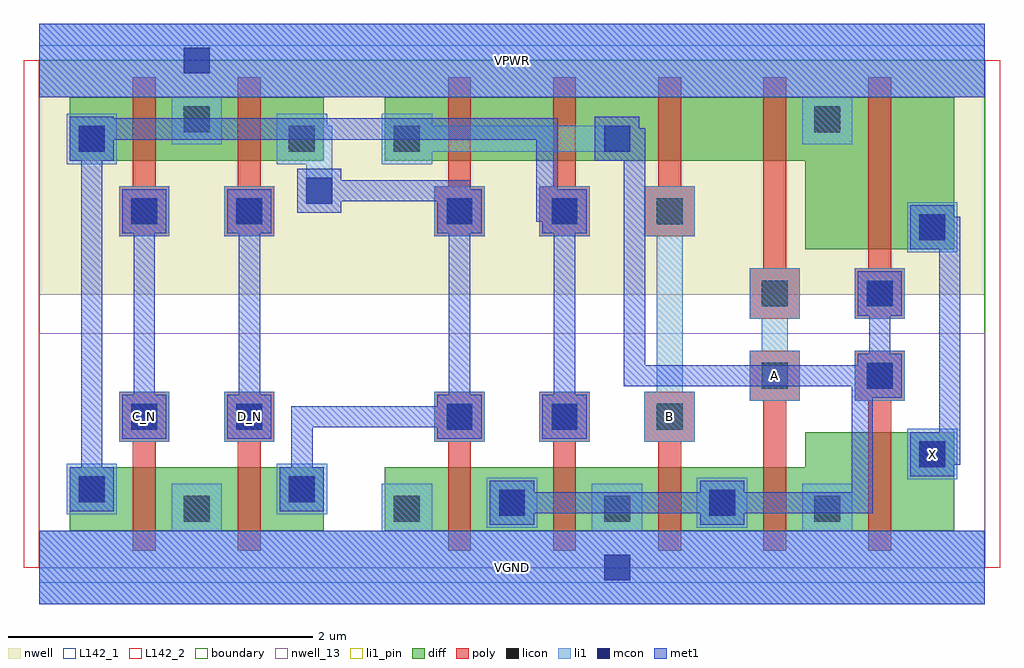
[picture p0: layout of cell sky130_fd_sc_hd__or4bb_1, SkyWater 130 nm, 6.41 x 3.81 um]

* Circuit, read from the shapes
.subckt sky130_fd_sc_hd__or4bb_1 A B C_N D_N VGND VPWR X
XM1 VGND C_N n1 VSUBS sky130_fd_pr__nfet_01v8 w=0.42 l=0.15
XM2 n2 D_N VGND VSUBS sky130_fd_pr__nfet_01v8 w=0.42 l=0.15
XM3 n3 n2 VGND VSUBS sky130_fd_pr__nfet_01v8 w=0.42 l=0.15
XM4 VGND n1 n3 VSUBS sky130_fd_pr__nfet_01v8 w=0.42 l=0.15
XM5 n3 B VGND VSUBS sky130_fd_pr__nfet_01v8 w=0.42 l=0.15
XM6 VGND A n3 VSUBS sky130_fd_pr__nfet_01v8 w=0.42 l=0.15
XM7 X n3 VGND VSUBS sky130_fd_pr__nfet_01v8 w=0.65 l=0.15
XM8 VPWR C_N n1 n4 sky130_fd_pr__pfet_01v8 w=0.42 l=0.15
XM9 n2 D_N VPWR n4 sky130_fd_pr__pfet_01v8 w=0.42 l=0.15
XM10 n5 n2 n3 n4 sky130_fd_pr__pfet_01v8 w=0.42 l=0.15
XM11 n6 n1 n5 n4 sky130_fd_pr__pfet_01v8 w=0.42 l=0.15
XM12 n7 B n6 n4 sky130_fd_pr__pfet_01v8 w=0.42 l=0.15
XM13 VPWR A n7 n4 sky130_fd_pr__pfet_01v8 w=0.42 l=0.15
XM14 X n3 VPWR n4 sky130_fd_pr__pfet_01v8 w=1 l=0.15
.ends

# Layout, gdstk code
import gdstk
lib = gdstk.Library(unit=1e-6, precision=1e-09)
def R(c, l, rs):  # rectangles x0, y0, x1, y1
    for r in rs: c.add(gdstk.rectangle(r[:2], r[2:], *l))
def A(c, l, x, y, w, h, nx, ny, dx, dy):  # array of equal rectangles
    R(c, l, [(x+i*dx, y+j*dy, x+i*dx+w, y+j*dy+h) for i in range(nx) for j in range(ny)])
def P(c, l, *ps):  # polygons
    for p in ps: c.add(gdstk.Polygon(p, *l))
nwell_13 = (64, 13)
nwell = (64, 20)
diff = (65, 20)
poly = (66, 20)
licon = (66, 44)
li1_pin = (67, 16)
li1 = (67, 20)
mcon = (67, 44)
met1 = (68, 20)
L142_1 = (142, 1)
L142_2 = (142, 2)
boundary = (235, 4)

sky130_fd_sc_hd__or4bb_1 = lib.new_cell('sky130_fd_sc_hd__or4bb_1')
R(sky130_fd_sc_hd__or4bb_1, nwell_13, [(0,0,6.21,1.54)])
R(sky130_fd_sc_hd__or4bb_1, nwell, [(0,1.79,6.21,3.33)])
A(sky130_fd_sc_hd__or4bb_1, diff, 2.685, 0.24, 0.69, 0.42, 3, 2, 0.69, 2.43)
R(sky130_fd_sc_hd__or4bb_1, diff, [(0.2,0.24,1.87,0.66), (0.2,0.24,0.615,0.66), (0.615,0.24,1.305,0.66), (1.305,0.24,1.87,0.66), (2.27,0.24,2.685,0.66), (5.445,0.24,6.01,0.89), (5.445,2.09,6.01,3.09), (0.2,2.67,1.87,3.09), (0.2,2.67,0.615,3.09), (0.615,2.67,1.305,3.09), (1.305,2.67,1.87,3.09), (2.27,2.67,2.685,3.09)])
P(sky130_fd_sc_hd__or4bb_1, diff, [(2.27,0.24),(2.27,0.66),(5.03,0.66),(5.03,0.89),(6.01,0.89),(6.01,0.24)],
  [(4.755,0.24),(4.755,0.66),(5.03,0.66),(5.03,0.89),(5.445,0.89),(5.445,0.24)],
  [(5.03,2.09),(5.03,2.67),(2.27,2.67),(2.27,3.09),(6.01,3.09),(6.01,2.09)],
  [(5.03,2.09),(5.03,2.67),(4.755,2.67),(4.755,3.09),(5.445,3.09),(5.445,2.09)])
P(sky130_fd_sc_hd__or4bb_1, poly, [(4.065,0.11),(4.065,0.825),(3.975,0.825),(3.975,1.155),(4.305,1.155),(4.305,0.825),(4.215,0.825),(4.215,0.11)],
  [(3.975,2.175),(3.975,2.505),(4.065,2.505),(4.065,3.22),(4.215,3.22),(4.215,2.505),(4.305,2.505),(4.305,2.175)],
  [(5.445,0.11),(5.445,1.095),(5.355,1.095),(5.355,1.425),(5.685,1.425),(5.685,1.095),(5.595,1.095),(5.595,0.11)],
  [(5.355,1.635),(5.355,1.965),(5.445,1.965),(5.445,3.22),(5.595,3.22),(5.595,1.965),(5.685,1.965),(5.685,1.635)],
  [(2.685,0.11),(2.685,0.825),(2.595,0.825),(2.595,1.155),(2.925,1.155),(2.925,0.825),(2.835,0.825),(2.835,0.11)],
  [(2.595,2.175),(2.595,2.505),(2.685,2.505),(2.685,3.22),(2.835,3.22),(2.835,2.505),(2.925,2.505),(2.925,2.175)],
  [(1.305,0.11),(1.305,0.825),(1.215,0.825),(1.215,1.155),(1.545,1.155),(1.545,0.825),(1.455,0.825),(1.455,0.11)],
  [(1.215,2.175),(1.215,2.505),(1.305,2.505),(1.305,3.22),(1.455,3.22),(1.455,2.505),(1.545,2.505),(1.545,2.175)],
  [(3.375,0.11),(3.375,0.825),(3.285,0.825),(3.285,1.155),(3.615,1.155),(3.615,0.825),(3.525,0.825),(3.525,0.11)],
  [(3.285,2.175),(3.285,2.505),(3.375,2.505),(3.375,3.22),(3.525,3.22),(3.525,2.505),(3.615,2.505),(3.615,2.175)],
  [(4.755,0.11),(4.755,1.095),(4.665,1.095),(4.665,1.425),(4.995,1.425),(4.995,1.095),(4.905,1.095),(4.905,0.11)],
  [(4.665,1.635),(4.665,1.965),(4.755,1.965),(4.755,3.22),(4.905,3.22),(4.905,1.965),(4.995,1.965),(4.995,1.635)],
  [(0.615,0.11),(0.615,0.825),(0.525,0.825),(0.525,1.155),(0.855,1.155),(0.855,0.825),(0.765,0.825),(0.765,0.11)],
  [(0.525,2.175),(0.525,2.505),(0.615,2.505),(0.615,3.22),(0.765,3.22),(0.765,2.505),(0.855,2.505),(0.855,2.175)])
A(sky130_fd_sc_hd__or4bb_1, licon, 0.95, 0.3, 0.17, 0.17, 4, 1, 1.38, 0)
A(sky130_fd_sc_hd__or4bb_1, licon, 2.675, 0.905, 0.17, 0.17, 3, 2, 0.69, 1.35)
R(sky130_fd_sc_hd__or4bb_1, licon, [(3.02,0.34,3.19,0.51), (4.4,0.34,4.57,0.51), (0.26,0.43,0.43,0.6), (1.64,0.43,1.81,0.6), (5.78,0.66,5.95,0.83), (0.605,0.905,0.775,1.075), (1.295,0.905,1.465,1.075), (4.745,1.175,4.915,1.345), (5.435,1.175,5.605,1.345), (4.745,1.715,4.915,1.885), (5.435,1.715,5.605,1.885), (5.78,2.15,5.95,2.32), (0.605,2.255,0.775,2.425), (1.295,2.255,1.465,2.425), (0.26,2.73,0.43,2.9), (1.64,2.73,1.81,2.9), (2.33,2.73,2.5,2.9), (0.95,2.86,1.12,3.03), (5.09,2.86,5.26,3.03)])
R(sky130_fd_sc_hd__or4bb_1, li1_pin, [(0,-0.24,6.21,0.24), (5.7,0.58,6.03,0.91), (0.525,0.825,0.855,1.155), (1.215,0.825,1.545,1.155), (0,3.09,6.21,3.57)])
P(sky130_fd_sc_hd__or4bb_1, li1_pin, [(4.665,1.095),(4.665,1.425),(4.745,1.425),(4.745,1.635),(4.665,1.635),(4.665,1.965),(4.995,1.965),(4.995,1.635),(4.915,1.635),(4.915,1.425),(4.995,1.425),(4.995,1.095)],
  [(3.975,0.825),(3.975,1.155),(4.055,1.155),(4.055,2.175),(3.975,2.175),(3.975,2.505),(4.305,2.505),(4.305,2.175),(4.225,2.175),(4.225,1.155),(4.305,1.155),(4.305,0.825)])
R(sky130_fd_sc_hd__or4bb_1, li1, [(2.94,0.26,3.27,0.59), (4.32,0.26,4.65,0.59), (0.18,0.35,0.51,0.68), (1.56,0.35,1.89,0.68), (5.7,0.58,6.03,0.91), (0.525,0.825,0.855,1.155), (1.215,0.825,1.545,1.155), (2.595,0.825,2.925,1.155), (3.285,0.825,3.615,1.155), (5.355,1.095,5.685,1.425), (5.355,1.635,5.685,1.965), (5.7,2.07,6.03,2.4), (0.525,2.175,0.855,2.505), (1.215,2.175,1.545,2.505), (2.595,2.175,2.925,2.505), (3.285,2.175,3.615,2.505), (0.18,2.65,0.51,2.98)])
P(sky130_fd_sc_hd__or4bb_1, li1, [(3.975,0.825),(3.975,1.155),(4.055,1.155),(4.055,2.175),(3.975,2.175),(3.975,2.505),(4.305,2.505),(4.305,2.175),(4.225,2.175),(4.225,1.155),(4.305,1.155),(4.305,0.825)],
  [(2.25,2.65),(2.25,2.98),(2.58,2.98),(2.58,2.9),(3.88,2.9),(3.88,2.73),(2.58,2.73),(2.58,2.65)],
  [(1.755,2.39),(1.755,2.65),(1.56,2.65),(1.56,2.98),(1.89,2.98),(1.89,2.9),(1.925,2.9),(1.925,2.39)],
  [(0.87,2.78),(0.87,3.09),(0,3.09),(0,3.57),(6.21,3.57),(6.21,3.09),(5.34,3.09),(5.34,2.78),(5.01,2.78),(5.01,3.09),(1.2,3.09),(1.2,2.78)],
  [(0,-0.24),(0,0.24),(0.87,0.24),(0.87,0.55),(1.2,0.55),(1.2,0.24),(2.25,0.24),(2.25,0.55),(2.58,0.55),(2.58,0.24),(3.63,0.24),(3.63,0.55),(3.96,0.55),(3.96,0.24),(5.01,0.24),(5.01,0.55),(5.34,0.55),(5.34,0.24),(6.21,0.24),(6.21,-0.24)],
  [(4.665,1.095),(4.665,1.425),(4.745,1.425),(4.745,1.635),(4.665,1.635),(4.665,1.965),(4.995,1.965),(4.995,1.635),(4.915,1.635),(4.915,1.425),(4.995,1.425),(4.995,1.095)])
R(sky130_fd_sc_hd__or4bb_1, mcon, [(3.71,-0.085,3.88,0.085), (3.02,0.34,3.19,0.51), (4.4,0.34,4.57,0.51), (0.26,0.43,0.43,0.6), (1.64,0.43,1.81,0.6), (5.78,0.66,5.95,0.83), (0.605,0.905,0.775,1.075), (1.295,0.905,1.465,1.075), (2.675,0.905,2.845,1.075), (3.365,0.905,3.535,1.075), (5.435,1.175,5.605,1.345), (5.435,1.715,5.605,1.885), (5.78,2.15,5.95,2.32), (0.605,2.255,0.775,2.425), (1.295,2.255,1.465,2.425), (2.675,2.255,2.845,2.425), (3.365,2.255,3.535,2.425), (1.755,2.39,1.925,2.56), (0.26,2.73,0.43,2.9), (3.71,2.73,3.88,2.9), (0.95,3.245,1.12,3.415)])
R(sky130_fd_sc_hd__or4bb_1, met1, [(0,-0.24,6.21,0.24), (0,3.09,6.21,3.57)])
P(sky130_fd_sc_hd__or4bb_1, met1, [(2.96,0.28),(2.96,0.57),(3.25,0.57),(3.25,0.495),(4.34,0.495),(4.34,0.57),(4.63,0.57),(4.63,0.495),(5.335,0.495),(5.335,1.19),(3.84,1.19),(3.84,2.67),(3.65,2.67),(3.65,2.96),(3.94,2.96),(3.94,2.885),(3.98,2.885),(3.98,1.33),(5.375,1.33),(5.375,1.405),(5.45,1.405),(5.45,1.655),(5.375,1.655),(5.375,1.945),(5.665,1.945),(5.665,1.655),(5.59,1.655),(5.59,1.405),(5.665,1.405),(5.665,1.115),(5.475,1.115),(5.475,0.355),(4.63,0.355),(4.63,0.28),(4.34,0.28),(4.34,0.355),(3.25,0.355),(3.25,0.28)],
  [(1.58,0.37),(1.58,0.66),(1.655,0.66),(1.655,1.06),(2.615,1.06),(2.615,1.135),(2.69,1.135),(2.69,2.195),(2.615,2.195),(2.615,2.405),(1.985,2.405),(1.985,2.33),(1.695,2.33),(1.695,2.62),(1.985,2.62),(1.985,2.545),(2.83,2.545),(2.83,2.485),(2.905,2.485),(2.905,2.195),(2.83,2.195),(2.83,1.135),(2.905,1.135),(2.905,0.845),(2.615,0.845),(2.615,0.92),(1.795,0.92),(1.795,0.66),(1.87,0.66),(1.87,0.37)],
  [(1.235,0.845),(1.235,1.135),(1.31,1.135),(1.31,2.195),(1.235,2.195),(1.235,2.485),(1.525,2.485),(1.525,2.195),(1.45,2.195),(1.45,1.135),(1.525,1.135),(1.525,0.845)],
  [(0.2,0.37),(0.2,0.66),(0.275,0.66),(0.275,2.67),(0.2,2.67),(0.2,2.96),(0.49,2.96),(0.49,2.95),(3.405,2.95),(3.405,2.485),(3.595,2.485),(3.595,2.195),(3.52,2.195),(3.52,1.135),(3.595,1.135),(3.595,0.845),(3.305,0.845),(3.305,1.135),(3.38,1.135),(3.38,2.195),(3.305,2.195),(3.305,2.27),(3.265,2.27),(3.265,2.81),(0.49,2.81),(0.49,2.67),(0.415,2.67),(0.415,0.66),(0.49,0.66),(0.49,0.37)],
  [(5.72,0.6),(5.72,0.89),(5.91,0.89),(5.91,2.09),(5.72,2.09),(5.72,2.38),(6.01,2.38),(6.01,2.305),(6.05,2.305),(6.05,0.675),(6.01,0.675),(6.01,0.6)],
  [(0.545,0.845),(0.545,1.135),(0.62,1.135),(0.62,2.195),(0.545,2.195),(0.545,2.485),(0.835,2.485),(0.835,2.195),(0.76,2.195),(0.76,1.135),(0.835,1.135),(0.835,0.845)])
R(sky130_fd_sc_hd__or4bb_1, L142_1, [(0,-0.1,6.21,0), (0,3.33,6.21,3.43)])
R(sky130_fd_sc_hd__or4bb_1, L142_2, [(-0.1,0,0,3.33), (6.21,0,6.31,3.33)])
R(sky130_fd_sc_hd__or4bb_1, boundary, [(0,0,6.21,3.33)])
sky130_fd_sc_hd__or4bb_1.add(gdstk.Label('X', (5.865,0.745), layer=67, texttype=5))
sky130_fd_sc_hd__or4bb_1.add(gdstk.Label('A', (4.83,1.26), layer=67, texttype=5))
sky130_fd_sc_hd__or4bb_1.add(gdstk.Label('B', (4.14,0.99), layer=67, texttype=5))
sky130_fd_sc_hd__or4bb_1.add(gdstk.Label('D_N', (1.38,0.99), layer=67, texttype=5))
sky130_fd_sc_hd__or4bb_1.add(gdstk.Label('C_N', (0.69,0.99), layer=67, texttype=5))
sky130_fd_sc_hd__or4bb_1.add(gdstk.Label('VGND', (3.105,0), layer=67, texttype=5))
sky130_fd_sc_hd__or4bb_1.add(gdstk.Label('VPWR', (3.105,3.33), layer=67, texttype=5))
sky130_fd_sc_hd__or4bb_1.add(gdstk.Label('VGND', (3.105,0), layer=68, texttype=5))
sky130_fd_sc_hd__or4bb_1.add(gdstk.Label('VPWR', (3.105,3.33), layer=68, texttype=5))

lib.write_gds('sky130_fd_sc_hd__or4bb_1.gds')
